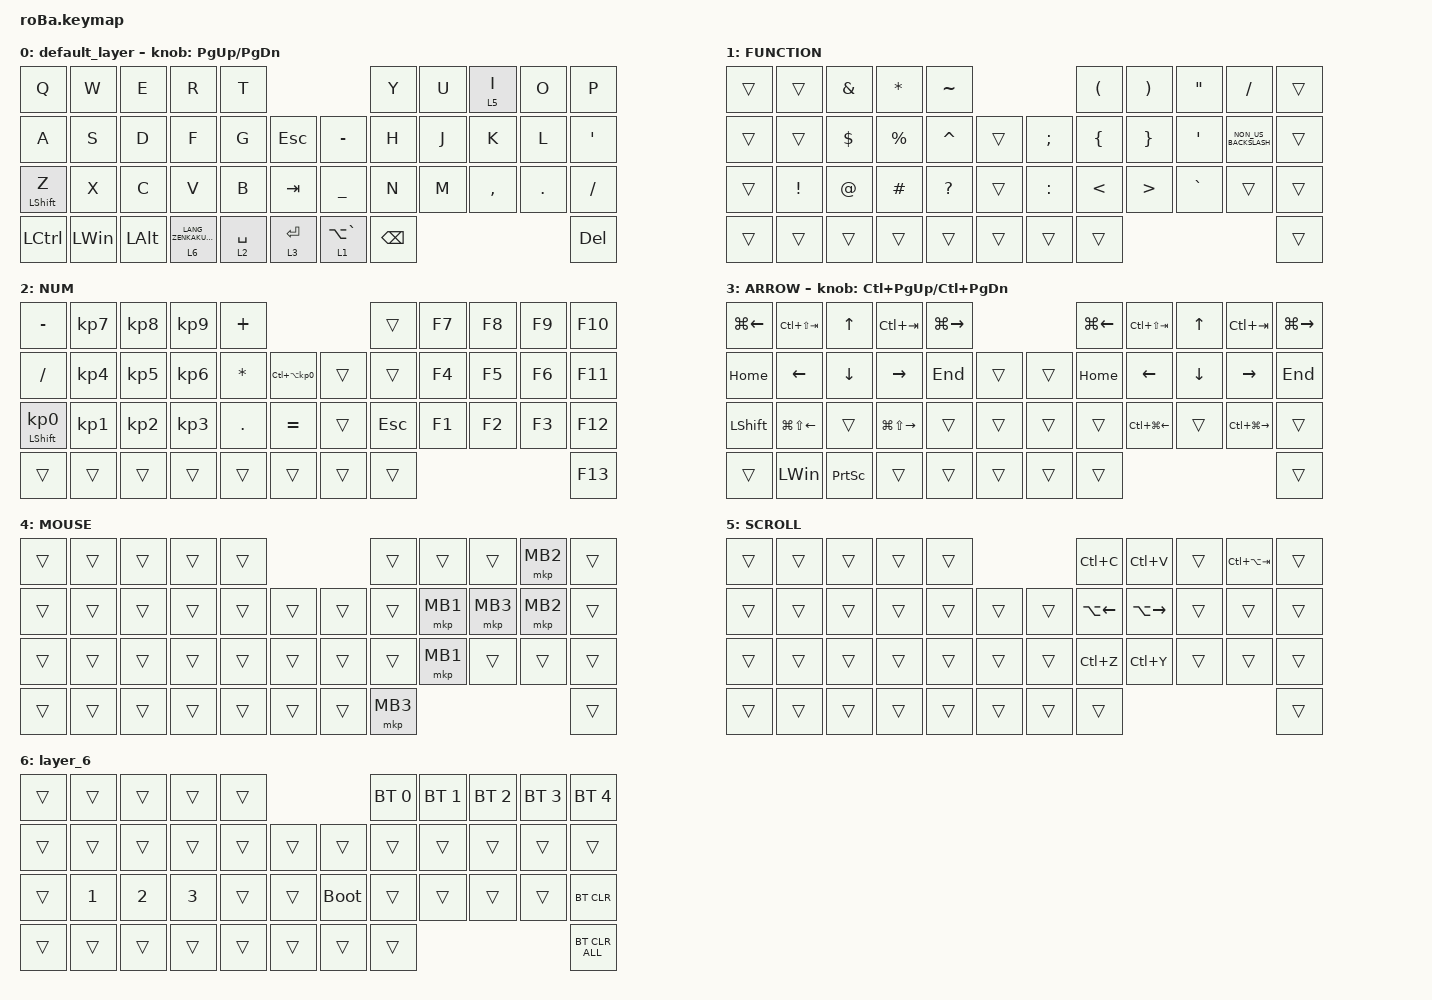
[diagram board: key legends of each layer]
#include <behaviors.dtsi>
#include <dt-bindings/zmk/bt.h>
#include <dt-bindings/zmk/keys.h>
#include <dt-bindings/zmk/pointing.h>

&mt {
    flavor = "balanced";
    quick-tap-ms = <0>;
};

/ {
    combos {
        compatible = "zmk,combos";

        tab {
            bindings = <&kp TAB>;
            key-positions = <11 12>;
        };

        shift_tab {
            bindings = <&kp LS(TAB)>;
            key-positions = <12 13>;
        };

        muhennkann {
            bindings = <&to_layer_0 INT_MUHENKAN>;
            key-positions = <11 10>;
        };

        double_quotation {
            bindings = <&kp DOUBLE_QUOTES>;
            key-positions = <20 21>;
        };

        eq {
            bindings = <&kp EQUAL>;
            key-positions = <24 25>;
        };
    };

    macros {
        to_layer_0: to_layer_0 {
            compatible = "zmk,behavior-macro-one-param";
            #binding-cells = <1>;
            bindings = <&to 0 &macro_param_1to1 &kp MACRO_PLACEHOLDER>;
            label = "TO_LAYER_0";
        };
    };

    behaviors {
        lt_to_layer_0: lt_to_layer_0 {
            compatible = "zmk,behavior-hold-tap";
            label = "LAYER_TAP_TO_0";
            bindings = <&mo>, <&to_layer_0>;

            #binding-cells = <2>;
            tapping-term-ms = <200>;
        };
    };

    keymap {
        compatible = "zmk,keymap";

        default_layer {
            bindings = <
&kp Q             &kp W         &kp E         &kp R                                 &kp T                                                   &kp Y          &kp U  &lt 5 I    &kp O    &kp P
&kp A             &kp S         &kp D         &kp F                                 &kp G        &kp ESC                   &kp MINUS        &kp H          &kp J  &kp K      &kp L    &kp SQT
&mt LEFT_SHIFT Z  &kp X         &kp C         &kp V                                 &kp B        &kp TAB                   &kp UNDER        &kp N          &kp M  &kp COMMA  &kp DOT  &kp SLASH
&kp LCTRL         &kp LEFT_WIN  &kp LEFT_ALT  &lt_to_layer_0 6 LANG_ZENKAKUHANKAKU  &lt 2 SPACE  &lt_to_layer_0 3 RET      &lt 1 LA(GRAVE)  &kp BACKSPACE                             &kp DEL
            >;

            sensor-bindings = <&inc_dec_kp PG_UP PAGE_DOWN>;
        };

        FUNCTION {
            bindings = <
&trans  &trans           &kp AMPERSAND  &kp ASTERISK  &kp TILDE                                &kp LEFT_PARENTHESIS  &kp RIGHT_PARENTHESIS  &kp DOUBLE_QUOTES  &kp SLASH             &trans
&trans  &trans           &kp DOLLAR     &kp PERCENT   &kp CARET     &trans      &kp SEMICOLON  &kp LEFT_BRACE        &kp RIGHT_BRACE        &kp SINGLE_QUOTE   &kp NON_US_BACKSLASH  &trans
&trans  &kp EXCLAMATION  &kp AT_SIGN    &kp HASH      &kp QUESTION  &trans      &kp COLON      &kp LESS_THAN         &kp GREATER_THAN       &kp GRAVE          &trans                &trans
&trans  &trans           &trans         &trans        &trans        &trans      &trans         &trans                                                                                &trans
            >;
        };

        NUM {
            bindings = <
&kp MINUS                   &kp KP_NUMBER_7  &kp KP_NUMBER_8  &kp KP_NUMBER_9  &kp PLUS                                           &trans      &kp F7  &kp F8  &kp F9  &kp F10
&kp SLASH                   &kp KP_NUMBER_4  &kp KP_NUMBER_5  &kp KP_NUMBER_6  &kp ASTERISK  &kp LC(LA(KP_NUMBER_0))      &trans  &trans      &kp F4  &kp F5  &kp F6  &kp F11
&mt LEFT_SHIFT KP_NUMBER_0  &kp KP_NUMBER_1  &kp KP_NUMBER_2  &kp KP_NUMBER_3  &kp PERIOD    &kp EQUAL                    &trans  &kp ESCAPE  &kp F1  &kp F2  &kp F3  &kp F12
&trans                      &trans           &trans           &trans           &trans        &trans                       &trans  &trans                              &kp F13
            >;
        };

        ARROW {
            bindings = <
&kp LG(LEFT)    &kp LC(LS(TAB))         &kp UP_ARROW    &kp LC(TAB)              &kp LG(RIGHT)                      &kp LG(LEFT)  &kp LC(LS(TAB))   &kp UP_ARROW    &kp LC(TAB)        &kp LG(RIGHT)
&kp HOME        &kp LEFT_ARROW          &kp DOWN_ARROW  &kp RIGHT_ARROW          &kp END        &trans      &trans  &kp HOME      &kp LEFT_ARROW    &kp DOWN_ARROW  &kp RIGHT_ARROW    &kp END
&kp LEFT_SHIFT  &kp LG(LS(LEFT_ARROW))  &trans          &kp LG(LS(RIGHT_ARROW))  &trans         &trans      &trans  &trans        &kp LC(LG(LEFT))  &trans          &kp LC(LG(RIGHT))  &trans
&trans          &kp LEFT_WIN            &kp PSCRN       &trans                   &trans         &trans      &trans  &trans                                                             &trans
            >;

            sensor-bindings = <&inc_dec_kp LC(PAGE_UP) LC(PAGE_DOWN)>;
        };

        MOUSE {
            bindings = <
&trans  &trans  &trans  &trans  &trans                      &trans    &trans    &trans    &mkp MB2  &trans
&trans  &trans  &trans  &trans  &trans  &trans      &trans  &trans    &mkp MB1  &mkp MB3  &mkp MB2  &trans
&trans  &trans  &trans  &trans  &trans  &trans      &trans  &trans    &mkp MB1  &trans    &trans    &trans
&trans  &trans  &trans  &trans  &trans  &trans      &trans  &mkp MB3                                &trans
            >;
        };

        SCROLL {
            bindings = <
&trans  &trans  &trans  &trans  &trans                      &kp LC(C)     &kp LC(V)      &trans  &kp LC(LA(TAB))  &trans
&trans  &trans  &trans  &trans  &trans  &trans      &trans  &kp LA(LEFT)  &kp LA(RIGHT)  &trans  &trans           &trans
&trans  &trans  &trans  &trans  &trans  &trans      &trans  &kp LC(Z)     &kp LC(Y)      &trans  &trans           &trans
&trans  &trans  &trans  &trans  &trans  &trans      &trans  &trans                                                &trans
            >;
        };

        layer_6 {
            bindings = <
&trans  &trans        &trans        &trans        &trans                           &bt BT_SEL 0  &bt BT_SEL 1  &bt BT_SEL 2  &bt BT_SEL 3  &bt BT_SEL 4
&trans  &trans        &trans        &trans        &trans  &trans      &trans       &trans        &trans        &trans        &trans        &trans
&trans  &kp NUMBER_1  &kp NUMBER_2  &kp NUMBER_3  &trans  &trans      &bootloader  &trans        &trans        &trans        &trans        &bt BT_CLR
&trans  &trans        &trans        &trans        &trans  &trans      &trans       &trans                                                  &bt BT_CLR_ALL
            >;
        };
    };
};
